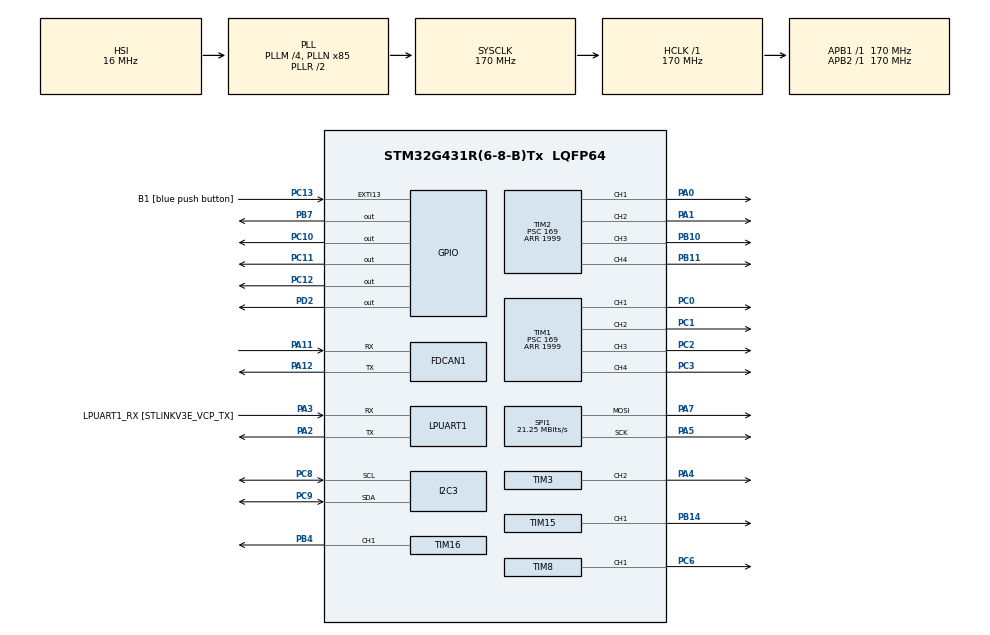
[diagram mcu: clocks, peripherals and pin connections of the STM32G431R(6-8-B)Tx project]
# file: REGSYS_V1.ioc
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FDCAN1.AutoRetransmission=ENABLE
FDCAN1.CalculateBaudRateNominal=499999
FDCAN1.CalculateTimeBitNominal=2000
FDCAN1.CalculateTimeQuantumNominal=117.64705882352942
FDCAN1.DataPrescaler=20
FDCAN1.DataTimeSeg1=14
FDCAN1.DataTimeSeg2=2
FDCAN1.NominalPrescaler=20
FDCAN1.NominalTimeSeg1=14
FDCAN1.StdFiltersNbr=1
I2C3.Timing=0x30A0A7FB
Mcu.Family=STM32G4
Mcu.Name=STM32G431R(6-8-B)Tx
Mcu.Package=LQFP64
NVIC.FDCAN1_IT0_IRQn=true\:0\:0\:false\:false\:true\:true\:true\:true
NVIC.PriorityGroup=NVIC_PRIORITYGROUP_4
PA0.Signal=S_TIM2_CH1
PA1.Signal=S_TIM2_CH2
PA11.Mode=FDCAN_Activate
PA11.Signal=FDCAN1_RX
PA12.Mode=FDCAN_Activate
PA12.Signal=FDCAN1_TX
PA13.GPIO_Label=T_SWDIO
PA13.Mode=Serial_Wire
PA13.Signal=SYS_JTMS-SWDIO
PA14.GPIO_Label=T_SWCLK
PA14.Mode=Serial_Wire
PA14.Signal=SYS_JTCK-SWCLK
PA2.Mode=Asynchronous
PA2.Signal=LPUART1_TX
PA3.GPIO_Label=LPUART1_RX [STLINKV3E_VCP_TX]
PA3.Mode=Asynchronous
PA3.Signal=LPUART1_RX
PA4.Signal=S_TIM3_CH2
PA5.Mode=TX_Only_Simplex_Unidirect_Master
PA5.Signal=SPI1_SCK
PA7.Mode=TX_Only_Simplex_Unidirect_Master
PA7.Signal=SPI1_MOSI
PB10.Signal=S_TIM2_CH3
PB11.Signal=S_TIM2_CH4
PB14.Signal=S_TIM15_CH1
PB4.Signal=S_TIM16_CH1
PB7.Signal=GPIO_Output
PC0.Signal=S_TIM1_CH1
PC1.Signal=S_TIM1_CH2
PC10.Signal=GPIO_Output
PC11.Signal=GPIO_Output
PC12.Signal=GPIO_Output
PC13.GPIO_Label=B1 [blue push button]
PC13.Signal=GPXTI13
PC14-OSC32_IN.Mode=LSE-External-Oscillator
PC14-OSC32_IN.Signal=RCC_OSC32_IN
PC15-OSC32_OUT.Mode=LSE-External-Oscillator
PC15-OSC32_OUT.Signal=RCC_OSC32_OUT
PC2.Signal=S_TIM1_CH3
PC3.Signal=S_TIM1_CH4
PC6.Signal=S_TIM8_CH1
PC8.Mode=I2C
PC8.Signal=I2C3_SCL
PC9.Mode=I2C
PC9.Signal=I2C3_SDA
PD2.Signal=GPIO_Output
PF0-OSC_IN.Mode=HSE-External-Oscillator
PF0-OSC_IN.Signal=RCC_OSC_IN
PF1-OSC_OUT.Mode=HSE-External-Oscillator
PF1-OSC_OUT.Signal=RCC_OSC_OUT
ProjectManager.HeapSize=0x200
ProjectManager.StackSize=0x400
ProjectManager.TargetToolchain=STM32CubeIDE
RCC.ADC12Freq_Value=170000000
RCC.AHBFreq_Value=170000000
RCC.APB1Freq_Value=170000000
RCC.APB1TimFreq_Value=170000000
RCC.APB2Freq_Value=170000000
RCC.APB2TimFreq_Value=170000000
RCC.CortexFreq_Value=170000000
RCC.EXTERNAL_CLOCK_VALUE=12288000
RCC.HCLKFreq_Value=170000000
RCC.HSE_VALUE=24000000
RCC.HSI48_VALUE=48000000
RCC.HSI_VALUE=16000000
RCC.PLLM=RCC_PLLM_DIV4
RCC.PLLN=85
RCC.RTCClockSelection=RCC_RTCCLKSOURCE_LSE
RCC.SYSCLKFreq_VALUE=170000000
RCC.SYSCLKSource=RCC_SYSCLKSOURCE_PLLCLK
RCC.USBFreq_Value=170000000
RCC.VCOOutputFreq_Value=340000000
SH.S_TIM15_CH1.0=TIM15_CH1,PWM Generation1 CH1
SH.S_TIM16_CH1.0=TIM16_CH1,PWM Generation1 CH1
SH.S_TIM1_CH1.0=TIM1_CH1,PWM Generation1 CH1
SH.S_TIM1_CH2.0=TIM1_CH2,PWM Generation2 CH2
SH.S_TIM1_CH3.0=TIM1_CH3,PWM Generation3 CH3
SH.S_TIM1_CH4.0=TIM1_CH4,PWM Generation4 CH4
SH.S_TIM2_CH1.0=TIM2_CH1,PWM Generation1 CH1
SH.S_TIM2_CH2.0=TIM2_CH2,PWM Generation2 CH2
SH.S_TIM2_CH3.0=TIM2_CH3,PWM Generation3 CH3
SH.S_TIM2_CH4.0=TIM2_CH4,PWM Generation4 CH4
SH.S_TIM3_CH2.0=TIM3_CH2,PWM Generation2 CH2
SH.S_TIM8_CH1.0=TIM8_CH1,PWM Generation1 CH1
SPI1.BaudRatePrescaler=SPI_BAUDRATEPRESCALER_8
SPI1.CalculateBaudRate=21.25 MBits/s
SPI1.DataSize=SPI_DATASIZE_8BIT
SPI1.Direction=SPI_DIRECTION_2LINES
SPI1.FirstBit=SPI_FIRSTBIT_LSB
SPI1.Mode=SPI_MODE_MASTER
SPI1.VirtualType=VM_MASTER
TIM1.AutoReloadPreload=TIM_AUTORELOAD_PRELOAD_ENABLE
TIM1.Channel-PWM\ Generation1\ CH1=TIM_CHANNEL_1
TIM1.Channel-PWM\ Generation2\ CH2=TIM_CHANNEL_2
TIM1.Channel-PWM\ Generation3\ CH3=TIM_CHANNEL_3
TIM1.Channel-PWM\ Generation4\ CH4=TIM_CHANNEL_4
TIM1.PeriodNoDither=1999
TIM1.Prescaler=169
TIM1.PulseNoDither_1=1499
TIM1.PulseNoDither_2=1499
TIM1.PulseNoDither_3=1499
TIM1.PulseNoDither_4=1499
TIM15.AutoReloadPreload=TIM_AUTORELOAD_PRELOAD_ENABLE
TIM15.Channel-PWM\ Generation1\ CH1=TIM_CHANNEL_1
TIM15.PeriodNoDither=4999
TIM15.Prescaler=169
TIM15.PulseNoDither_1=0
TIM16.AutoReloadPreload=TIM_AUTORELOAD_PRELOAD_ENABLE
TIM16.Channel=TIM_CHANNEL_1
TIM16.PeriodNoDither=4999
TIM16.Prescaler=169
TIM16.PulseNoDither_1=0
TIM2.AutoReloadPreload=TIM_AUTORELOAD_PRELOAD_ENABLE
TIM2.Channel-PWM\ Generation1\ CH1=TIM_CHANNEL_1
TIM2.Channel-PWM\ Generation2\ CH2=TIM_CHANNEL_2
TIM2.Channel-PWM\ Generation3\ CH3=TIM_CHANNEL_3
TIM2.Channel-PWM\ Generation4\ CH4=TIM_CHANNEL_4
TIM2.PeriodNoDither=1999
TIM2.Prescaler=169
TIM2.PulseNoDither_1=1499
TIM2.PulseNoDither_2=1499
TIM2.PulseNoDither_3=1499
TIM2.PulseNoDither_4=1499
TIM3.Channel-PWM\ Generation2\ CH2=TIM_CHANNEL_2
TIM3.PeriodNoDither=4999
TIM3.Prescaler=169
TIM3.PulseNoDither_2=0
TIM8.AutoReloadPreload=TIM_AUTORELOAD_PRELOAD_ENABLE
TIM8.Channel-PWM\ Generation1\ CH1=TIM_CHANNEL_1
TIM8.PeriodNoDither=4999
TIM8.Prescaler=169
TIM8.PulseNoDither_1=1499
VP_SYS_VS_DBSignals.Mode=DisableDeadBatterySignals
VP_TIM16_VS_ClockSourceINT.Mode=Enable_Timer
board=NUCLEO-G431RB

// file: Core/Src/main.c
/* USER CODE BEGIN Header */
/**
  ******************************************************************************
  * @file           : main.c
  * @brief          : Main program body
  ******************************************************************************
  * @attention
  *
  * Copyright (c) 2023 STMicroelectronics.
  * All rights reserved.
  *
  * This software is licensed under terms that can be found in the LICENSE file
  * in the root directory of this software component.
  * If no LICENSE file comes with this software, it is provided AS-IS.
  *
  ******************************************************************************
  */
/* USER CODE END Header */
#include "main.h"

/* USER CODE BEGIN Includes */
#include <stdio.h>
#include <string.h>
#include <stdlib.h>

#include <funksjoner_test.h>
#include <funksjoner_thruster.h>
#include <funksjoner_manpu.h>
#include <funksjoner_sensor.h>

#include <globvariabler_dek.h>
#include <typedef_structures.h>

#include "STTS75.h"

//funssjon (thruster_melding_struct &kjoremelding);

/* USER CODE END Includes */

FDCAN_HandleTypeDef hfdcan1;

I2C_HandleTypeDef hi2c3;

UART_HandleTypeDef hlpuart1;

SPI_HandleTypeDef hspi1;

TIM_HandleTypeDef htim1;
TIM_HandleTypeDef htim2;
TIM_HandleTypeDef htim3;
TIM_HandleTypeDef htim8;
TIM_HandleTypeDef htim15;
TIM_HandleTypeDef htim16;

/* USER CODE BEGIN PV */

/* ----------------Startoppsett for CAN-Bus-----------------*/

FDCAN_FilterTypeDef sFilterConfig;
FDCAN_TxHeaderTypeDef TxHeader;
FDCAN_RxHeaderTypeDef RxHeader;
// HVORFOR SKREVET 0X01 OSV..
// uint?
uint8_t TxData[8] = {0x00, 0x00, 0x00 ,0x00, 0x00, 0x00, 0x00, 0x00}; // CAN-Bus Transmit Buffer
uint8_t RxData[8] = {0x00, 0x00, 0x00, 0x00, 0x00, 0x00, 0x00, 0x00}; // CAN-Bus Receive Buffer

/* ----------------------------------------------------------*/

/* USER CODE END PV */

void SystemClock_Config(void);
static void MX_GPIO_Init(void);
static void MX_LPUART1_UART_Init(void);
static void MX_FDCAN1_Init(void);
static void MX_TIM2_Init(void);
static void MX_TIM1_Init(void);
static void MX_TIM16_Init(void);
static void MX_TIM15_Init(void);
static void MX_TIM8_Init(void);
static void MX_I2C3_Init(void);
static void MX_SPI1_Init(void);
static void MX_TIM3_Init(void);

/* USER CODE BEGIN 0 */

/* ----------------Funksjoner for CAN-Bus kommunikasjonsgruppe-----------*/

void oppstartCAN(FDCAN_HandleTypeDef *canPort) { // Konfigurerer CAN-bussen
// Configure filter for FDCAN1

			  sFilterConfig.IdType = FDCAN_STANDARD_ID;
			  sFilterConfig.FilterIndex = 0;
			  sFilterConfig.FilterType = FDCAN_FILTER_MASK;
			  sFilterConfig.FilterConfig = FDCAN_FILTER_TO_RXFIFO0;
			  sFilterConfig.FilterID1 = 0x20; // FilterID1 fra listen nedenfor settes her. Definerer filterID
			  sFilterConfig.FilterID2 = 0xE0; // FilterID2 fra listen nedenfor settes her. Definerer maskeID

			  /* ---------FilterID1 og FilterID2 for de ulike gruppene--------- */

			  // Reguleringskort: FilterID1 = 0x20, FilterID2 = 0xE0 --> Slipper gjennom ideer mellom 32-63 (0x20 - 0x3F)
			  // Sensorskort: FilterID1 = 0x40, FilterID2 = 0xE0 --> Slipper gjennom ideer mellom 64-95 (0x40 - 0x5F)
			  // Kraftkort: FilterID1 = 0x60, FilterID2 = 0xE0 --> Slipper gjennom ideer mellom 96-127 (0x60 - 0x7F)
			  // Kommunikasjonskort: FilterID1 = 0x80, FilterID2 = 0xE0 --> Slipper gjennom ideer mellom 128-159 (0x80 - 0x9F)
			  // Sett inn rett ID-er for din gruppe

			  // Configure TX Header for FDCAN1
			TxHeader.Identifier = 0x00;
			TxHeader.IdType = FDCAN_STANDARD_ID;
			TxHeader.TxFrameType = FDCAN_DATA_FRAME;
			TxHeader.DataLength = FDCAN_DLC_BYTES_8; // Antall byte som sendes
			TxHeader.ErrorStateIndicator = FDCAN_ESI_ACTIVE;
			TxHeader.BitRateSwitch = FDCAN_BRS_OFF;
			TxHeader.FDFormat = FDCAN_CLASSIC_CAN; // Bruker CAN og ikke FDCAN
			TxHeader.TxEventFifoControl = FDCAN_NO_TX_EVENTS;
			TxHeader.MessageMarker = 0;

			HAL_FDCAN_ConfigFilter(canPort, &sFilterConfig);
			HAL_FDCAN_Start(canPort);
			HAL_FDCAN_ActivateNotification(&hfdcan1, FDCAN_IT_RX_FIFO0_NEW_MESSAGE, 0);
}

void sendCAN(uint16_t id, FDCAN_HandleTypeDef *canPort) { // For sending av melding på CAN-bussen

	TxHeader.Identifier = id;
	HAL_FDCAN_AddMessageToTxFifoQ(canPort, &TxHeader, TxData);
}

/* ---------------- Andre funksjoner for CAN-Bus, kopier og skriv til RxData og TxData -----------------------------*/

// funksjon for å sende thrustpaadrag til topside
void TX_kopier_thrustpaadrag(void){
	memcpy(&TxData,   &sum_bidrag_int8.hhf, 1); // Kopierer 1 byte, sum_bidrag_int8.hhf til første byte i TxData
	memcpy(&TxData[1],&sum_bidrag_int8.hhb, 1); // Kopierer 1 byte, sum_bidrag_int8.hhb til andre byte i TxData
	memcpy(&TxData[2],&sum_bidrag_int8.hvb, 1); // ..
	memcpy(&TxData[3],&sum_bidrag_int8.hvf, 1);
	memcpy(&TxData[4],&sum_bidrag_int8.vhf, 1);
	memcpy(&TxData[5],&sum_bidrag_int8.vhb, 1);
	memcpy(&TxData[6],&sum_bidrag_int8.vvb, 1);
	memcpy(&TxData[7],&sum_bidrag_int8.vvf, 1);
}

// kan laste inn hele memcpy(&TxData,   &sum_bidrag_int8, 8);

/* ----------------------- DISPLAY -------------------------- */

void shiftUT(uint16_t segment_data){
	//sett_rotasjonsretning(operator_manpu.gripe,GPIOC,GPIO_PIN_12);
// LATCH PIN LOW
// HAL_GPIO_WritePin(LATCH_PORT, LATCH_PIN, GPIO_PIN_RESET);

	HAL_GPIO_WritePin(GPIOB, GPIO_PIN_7, GPIO_PIN_RESET);

// Write data with SPI Port
// size: how many bytes wish to send
// HAL_SPI_Transmit(&hspi1,segment_data,size,100);
	HAL_SPI_Transmit(&hspi1,(uint8_t*)&segment_data,2,100);

// once data is ready set latch pin to HIGH
// HAL_GPIO_WritePin(LATCH_PORT, LATCH_PIN, GPIO_PIN_SET);
	HAL_GPIO_WritePin(GPIOB, GPIO_PIN_7, GPIO_PIN_SET);

}

/* -------------------------------------------------------------- */
/* USER CODE END 0 */

int main(void)
{

  /* MCU Configuration--------------------------------------------------------*/

  /* Reset of all peripherals, Initializes the Flash interface and the Systick. */
  HAL_Init();

  /* Configure the system clock */
  SystemClock_Config();

  /* Initialize all configured peripherals */
  MX_GPIO_Init();
  MX_LPUART1_UART_Init();
  MX_FDCAN1_Init();
  MX_TIM2_Init();
  MX_TIM1_Init();
  MX_TIM16_Init();
  MX_TIM15_Init();
  MX_TIM8_Init();
  MX_I2C3_Init();
  MX_SPI1_Init();
  MX_TIM3_Init();
  /* USER CODE BEGIN 2 */

  /* Starter CAN-buseen */

  oppstartCAN(&hfdcan1);

  /* NB! starte timere */

  // TIMERE FOR THRUSTER
  HAL_TIM_PWM_Start(&htim1, TIM_CHANNEL_1);
  HAL_TIM_PWM_Start(&htim1, TIM_CHANNEL_2);
  HAL_TIM_PWM_Start(&htim1, TIM_CHANNEL_3);
  HAL_TIM_PWM_Start(&htim1, TIM_CHANNEL_4);

  HAL_TIM_PWM_Start(&htim2, TIM_CHANNEL_1);
  HAL_TIM_PWM_Start(&htim2, TIM_CHANNEL_2);
  HAL_TIM_PWM_Start(&htim2, TIM_CHANNEL_3);
  HAL_TIM_PWM_Start(&htim2, TIM_CHANNEL_4);

  // TIMEREI  FOR MANIUPLATOR

  //ENDRE_FREKVENS = 0XFF;

  //  PA4 GRIP
  HAL_TIM_PWM_Start(&htim3, TIM_CHANNEL_2);
  //HAL_GPIO_WritePin(GPIOB, GPIO_PIN_14, GPIO_PIN_RESET);

  // PC6 SNURR --> BØRSTELØSE
  HAL_TIM_PWM_Start(&htim8, TIM_CHANNEL_1);
  // må være delay slik at boot sekvensen rekker å kjøres
  HAL_Delay(5000);

  // PB14 SVING
  HAL_TIM_PWM_Start(&htim15, TIM_CHANNEL_1);
  //HAL_GPIO_WritePin(GPIOB, GPIO_PIN_4, GPIO_PIN_RESET);

  // PB4 SKYV
  HAL_TIM_PWM_Start(&htim16, TIM_CHANNEL_1);
  //HAL_GPIO_WritePin(GPIOA, GPIO_PIN_4, GPIO_PIN_RESET);

  HAL_GPIO_WritePin(GPIOD, GPIO_PIN_2, GPIO_PIN_SET);

  //init av temp sens
  STTS75 temp_sensor = {0};

  STTS75_Init(&temp_sensor, &hi2c3, STTS75_9BIT);

  //REG_AKTIVER = 0;
  // init av reguleringsvariabler
  hiv_regulering_init();
  stamp_regulering_init();
  rull_regulering_init();

  /* USER CODE END 2 */

  /* Infinite loop */
  /* USER CODE BEGIN WHILE */
  while (1)
  {

	//////// LESING OG SENDING TEMPERATUR SENSOR
	if(LES_SEND_TEMP){
		LES_SEND_TEMP = 0;
		// leser to temperatursensorer, reg og driver og lagrer i structen STTS75
		STTS75_Read_Temp(&temp_sensor);

	  	// kopierer temp_16bit_reg, og temp_16bit_driv til Txdata
		memcpy(&TxData,&temp_sensor.temp_16bit_reg, 2);
		memcpy(&TxData[2],&temp_sensor.temp_16bit_driv, 2);
		// sende settpunkt til topside
		int16_t settpunkt = (int16_t) (PID_hiv.Ref*1000.0);
		memcpy(&TxData[4],&settpunkt, 2);
		// sende om regulering er aktivert til topside

	  // sender over CAN med id 130
		sendCAN(130,&hfdcan1);
	}

	/////////// SENDING AV CAN MELDING

	 //// ID 129 thrustpaadrag
	 if (THRUST_TOPSIDE){
		THRUST_TOPSIDE = 0;

		TX_kopier_thrustpaadrag();
		// sender over CAN med id 129
		sendCAN(129, &hfdcan1);

	 }

	/////////// STYRING OG REGULERING

	static uint8_t condition_evaluated = 0;

	/// KODE FOR BARE STYRING UTEN REGULERING
	if (SUM_BIDRAG_STYRING){
		SUM_BIDRAG_STYRING = 0;
		//// all regulering deaktivert, må sette alle reguleringsbidrag til 0.
		 /// sum_bidrag vil da være lik operatorbidrag
		null_bidrag_alle_regvar();
		/////
		condition_evaluated = 1;
	}

/////// KODE FOR STYRING MED REGULERING

	else if (SUM_BIDRAG_INKL_REG){
		SUM_BIDRAG_INKL_REG = 0;

		beregn_reguleringbidrag();

		//////
		condition_evaluated = 1;

	}

	// FELLES FOR BEGGE TILFELLER
	/// operasjoner som blir utført i begge tilfellene
	if (condition_evaluated){
		condition_evaluated = 0;

		beregning_operatorbidrag();

		beregn_sum_bidrag();
		behandle_sum_bidrag();
	}

	// KODE FOR MANIPULATOR
	if (MOTTATT_MANIPULATOR){
		behandle_manipulator();
	}

    /* USER CODE END WHILE */

  }
}

void SystemClock_Config(void)
{
  RCC_OscInitTypeDef RCC_OscInitStruct = {0};
  RCC_ClkInitTypeDef RCC_ClkInitStruct = {0};

  /** Configure the main internal regulator output voltage
  */
  HAL_PWREx_ControlVoltageScaling(PWR_REGULATOR_VOLTAGE_SCALE1_BOOST);

  /** Initializes the RCC Oscillators according to the specified parameters
  * in the RCC_OscInitTypeDef structure.
  */
  RCC_OscInitStruct.OscillatorType = RCC_OSCILLATORTYPE_HSI;
  RCC_OscInitStruct.HSIState = RCC_HSI_ON;
  RCC_OscInitStruct.HSICalibrationValue = RCC_HSICALIBRATION_DEFAULT;
  RCC_OscInitStruct.PLL.PLLState = RCC_PLL_ON;
  RCC_OscInitStruct.PLL.PLLSource = RCC_PLLSOURCE_HSI;
  RCC_OscInitStruct.PLL.PLLM = RCC_PLLM_DIV4;
  RCC_OscInitStruct.PLL.PLLN = 85;
  RCC_OscInitStruct.PLL.PLLP = RCC_PLLP_DIV2;
  RCC_OscInitStruct.PLL.PLLQ = RCC_PLLQ_DIV2;
  RCC_OscInitStruct.PLL.PLLR = RCC_PLLR_DIV2;
  if (HAL_RCC_OscConfig(&RCC_OscInitStruct) != HAL_OK)
  {
    Error_Handler();
  }

  /** Initializes the CPU, AHB and APB buses clocks
  */
  RCC_ClkInitStruct.ClockType = RCC_CLOCKTYPE_HCLK|RCC_CLOCKTYPE_SYSCLK
                              |RCC_CLOCKTYPE_PCLK1|RCC_CLOCKTYPE_PCLK2;
  RCC_ClkInitStruct.SYSCLKSource = RCC_SYSCLKSOURCE_PLLCLK;
  RCC_ClkInitStruct.AHBCLKDivider = RCC_SYSCLK_DIV1;
  RCC_ClkInitStruct.APB1CLKDivider = RCC_HCLK_DIV1;
  RCC_ClkInitStruct.APB2CLKDivider = RCC_HCLK_DIV1;

  if (HAL_RCC_ClockConfig(&RCC_ClkInitStruct, FLASH_LATENCY_4) != HAL_OK)
  {
    Error_Handler();
  }
}

static void MX_FDCAN1_Init(void)
{

  hfdcan1.Instance = FDCAN1;
  hfdcan1.Init.ClockDivider = FDCAN_CLOCK_DIV1;
  hfdcan1.Init.FrameFormat = FDCAN_FRAME_CLASSIC;
  hfdcan1.Init.Mode = FDCAN_MODE_NORMAL;
  hfdcan1.Init.AutoRetransmission = ENABLE;
  hfdcan1.Init.TransmitPause = DISABLE;
  hfdcan1.Init.ProtocolException = DISABLE;
  hfdcan1.Init.NominalPrescaler = 20;
  hfdcan1.Init.NominalSyncJumpWidth = 1;
  hfdcan1.Init.NominalTimeSeg1 = 14;
  hfdcan1.Init.NominalTimeSeg2 = 2;
  hfdcan1.Init.DataPrescaler = 20;
  hfdcan1.Init.DataSyncJumpWidth = 1;
  hfdcan1.Init.DataTimeSeg1 = 14;
  hfdcan1.Init.DataTimeSeg2 = 2;
  hfdcan1.Init.StdFiltersNbr = 1;
  hfdcan1.Init.ExtFiltersNbr = 0;
  hfdcan1.Init.TxFifoQueueMode = FDCAN_TX_FIFO_OPERATION;
  if (HAL_FDCAN_Init(&hfdcan1) != HAL_OK)
  {
    Error_Handler();
  }

}

static void MX_I2C3_Init(void)
{

  hi2c3.Instance = I2C3;
  hi2c3.Init.Timing = 0x30A0A7FB;
  hi2c3.Init.OwnAddress1 = 0;
  hi2c3.Init.AddressingMode = I2C_ADDRESSINGMODE_7BIT;
  hi2c3.Init.DualAddressMode = I2C_DUALADDRESS_DISABLE;
  hi2c3.Init.OwnAddress2 = 0;
  hi2c3.Init.OwnAddress2Masks = I2C_OA2_NOMASK;
  hi2c3.Init.GeneralCallMode = I2C_GENERALCALL_DISABLE;
  hi2c3.Init.NoStretchMode = I2C_NOSTRETCH_DISABLE;
  if (HAL_I2C_Init(&hi2c3) != HAL_OK)
  {
    Error_Handler();
  }

  /** Configure Analogue filter
  */
  if (HAL_I2CEx_ConfigAnalogFilter(&hi2c3, I2C_ANALOGFILTER_ENABLE) != HAL_OK)
  {
    Error_Handler();
  }

  /** Configure Digital filter
  */
  if (HAL_I2CEx_ConfigDigitalFilter(&hi2c3, 0) != HAL_OK)
  {
    Error_Handler();
  }

}

static void MX_LPUART1_UART_Init(void)
{

  hlpuart1.Instance = LPUART1;
  hlpuart1.Init.BaudRate = 209700;
  hlpuart1.Init.WordLength = UART_WORDLENGTH_8B;
  hlpuart1.Init.StopBits = UART_STOPBITS_1;
  hlpuart1.Init.Parity = UART_PARITY_NONE;
  hlpuart1.Init.Mode = UART_MODE_TX_RX;
  hlpuart1.Init.HwFlowCtl = UART_HWCONTROL_NONE;
  hlpuart1.Init.OneBitSampling = UART_ONE_BIT_SAMPLE_DISABLE;
  hlpuart1.Init.ClockPrescaler = UART_PRESCALER_DIV1;
  hlpuart1.AdvancedInit.AdvFeatureInit = UART_ADVFEATURE_NO_INIT;
  if (HAL_UART_Init(&hlpuart1) != HAL_OK)
  {
    Error_Handler();
  }
  if (HAL_UARTEx_SetTxFifoThreshold(&hlpuart1, UART_TXFIFO_THRESHOLD_1_8) != HAL_OK)
  {
    Error_Handler();
  }
  if (HAL_UARTEx_SetRxFifoThreshold(&hlpuart1, UART_RXFIFO_THRESHOLD_1_8) != HAL_OK)
  {
    Error_Handler();
  }
  if (HAL_UARTEx_DisableFifoMode(&hlpuart1) != HAL_OK)
  {
    Error_Handler();
  }

}

static void MX_SPI1_Init(void)
{

  /* SPI1 parameter configuration*/
  hspi1.Instance = SPI1;
  hspi1.Init.Mode = SPI_MODE_MASTER;
  hspi1.Init.Direction = SPI_DIRECTION_2LINES;
  hspi1.Init.DataSize = SPI_DATASIZE_8BIT;
  hspi1.Init.CLKPolarity = SPI_POLARITY_LOW;
  hspi1.Init.CLKPhase = SPI_PHASE_1EDGE;
  hspi1.Init.NSS = SPI_NSS_SOFT;
  hspi1.Init.BaudRatePrescaler = SPI_BAUDRATEPRESCALER_8;
  hspi1.Init.FirstBit = SPI_FIRSTBIT_LSB;
  hspi1.Init.TIMode = SPI_TIMODE_DISABLE;
  hspi1.Init.CRCCalculation = SPI_CRCCALCULATION_DISABLE;
  hspi1.Init.CRCPolynomial = 7;
  hspi1.Init.CRCLength = SPI_CRC_LENGTH_DATASIZE;
  hspi1.Init.NSSPMode = SPI_NSS_PULSE_ENABLE;
  if (HAL_SPI_Init(&hspi1) != HAL_OK)
  {
    Error_Handler();
  }

}

static void MX_TIM1_Init(void)
{

  TIM_MasterConfigTypeDef sMasterConfig = {0};
  TIM_OC_InitTypeDef sConfigOC = {0};
  TIM_BreakDeadTimeConfigTypeDef sBreakDeadTimeConfig = {0};

  htim1.Instance = TIM1;
  htim1.Init.Prescaler = 169;
  htim1.Init.CounterMode = TIM_COUNTERMODE_UP;
  htim1.Init.Period = 1999;
  htim1.Init.ClockDivision = TIM_CLOCKDIVISION_DIV1;
  htim1.Init.RepetitionCounter = 0;
  htim1.Init.AutoReloadPreload = TIM_AUTORELOAD_PRELOAD_ENABLE;
  if (HAL_TIM_PWM_Init(&htim1) != HAL_OK)
  {
    Error_Handler();
  }
  sMasterConfig.MasterOutputTrigger = TIM_TRGO_RESET;
  sMasterConfig.MasterOutputTrigger2 = TIM_TRGO2_RESET;
  sMasterConfig.MasterSlaveMode = TIM_MASTERSLAVEMODE_DISABLE;
  if (HAL_TIMEx_MasterConfigSynchronization(&htim1, &sMasterConfig) != HAL_OK)
  {
    Error_Handler();
  }
  sConfigOC.OCMode = TIM_OCMODE_PWM1;
  sConfigOC.Pulse = 1499;
  sConfigOC.OCPolarity = TIM_OCPOLARITY_HIGH;
  sConfigOC.OCNPolarity = TIM_OCNPOLARITY_HIGH;
  sConfigOC.OCFastMode = TIM_OCFAST_DISABLE;
  sConfigOC.OCIdleState = TIM_OCIDLESTATE_RESET;
  sConfigOC.OCNIdleState = TIM_OCNIDLESTATE_RESET;
  if (HAL_TIM_PWM_ConfigChannel(&htim1, &sConfigOC, TIM_CHANNEL_1) != HAL_OK)
  {
    Error_Handler();
  }
  if (HAL_TIM_PWM_ConfigChannel(&htim1, &sConfigOC, TIM_CHANNEL_2) != HAL_OK)
  {
    Error_Handler();
  }
  if (HAL_TIM_PWM_ConfigChannel(&htim1, &sConfigOC, TIM_CHANNEL_3) != HAL_OK)
  {
    Error_Handler();
  }
  if (HAL_TIM_PWM_ConfigChannel(&htim1, &sConfigOC, TIM_CHANNEL_4) != HAL_OK)
  {
    Error_Handler();
  }
  sBreakDeadTimeConfig.OffStateRunMode = TIM_OSSR_DISABLE;
  sBreakDeadTimeConfig.OffStateIDLEMode = TIM_OSSI_DISABLE;
  sBreakDeadTimeConfig.LockLevel = TIM_LOCKLEVEL_OFF;
  sBreakDeadTimeConfig.DeadTime = 0;
  sBreakDeadTimeConfig.BreakState = TIM_BREAK_DISABLE;
  sBreakDeadTimeConfig.BreakPolarity = TIM_BREAKPOLARITY_HIGH;
  sBreakDeadTimeConfig.BreakFilter = 0;
  sBreakDeadTimeConfig.BreakAFMode = TIM_BREAK_AFMODE_INPUT;
  sBreakDeadTimeConfig.Break2State = TIM_BREAK2_DISABLE;
  sBreakDeadTimeConfig.Break2Polarity = TIM_BREAK2POLARITY_HIGH;
  sBreakDeadTimeConfig.Break2Filter = 0;
  sBreakDeadTimeConfig.Break2AFMode = TIM_BREAK_AFMODE_INPUT;
  sBreakDeadTimeConfig.AutomaticOutput = TIM_AUTOMATICOUTPUT_DISABLE;
  if (HAL_TIMEx_ConfigBreakDeadTime(&htim1, &sBreakDeadTimeConfig) != HAL_OK)
  {
    Error_Handler();
  }
  HAL_TIM_MspPostInit(&htim1);

}

static void MX_TIM2_Init(void)
{

  TIM_MasterConfigTypeDef sMasterConfig = {0};
  TIM_OC_InitTypeDef sConfigOC = {0};

  htim2.Instance = TIM2;
  htim2.Init.Prescaler = 169;
  htim2.Init.CounterMode = TIM_COUNTERMODE_UP;
  htim2.Init.Period = 1999;
  htim2.Init.ClockDivision = TIM_CLOCKDIVISION_DIV1;
  htim2.Init.AutoReloadPreload = TIM_AUTORELOAD_PRELOAD_ENABLE;
  if (HAL_TIM_PWM_Init(&htim2) != HAL_OK)
  {
    Error_Handler();
  }
  sMasterConfig.MasterOutputTrigger = TIM_TRGO_RESET;
  sMasterConfig.MasterSlaveMode = TIM_MASTERSLAVEMODE_DISABLE;
  if (HAL_TIMEx_MasterConfigSynchronization(&htim2, &sMasterConfig) != HAL_OK)
  {
    Error_Handler();
  }
  sConfigOC.OCMode = TIM_OCMODE_PWM1;
  sConfigOC.Pulse = 1499;
  sConfigOC.OCPolarity = TIM_OCPOLARITY_HIGH;
  sConfigOC.OCFastMode = TIM_OCFAST_DISABLE;
  if (HAL_TIM_PWM_ConfigChannel(&htim2, &sConfigOC, TIM_CHANNEL_1) != HAL_OK)
  {
    Error_Handler();
  }
  if (HAL_TIM_PWM_ConfigChannel(&htim2, &sConfigOC, TIM_CHANNEL_2) != HAL_OK)
  {
    Error_Handler();
  }
  if (HAL_TIM_PWM_ConfigChannel(&htim2, &sConfigOC, TIM_CHANNEL_3) != HAL_OK)
  {
    Error_Handler();
  }
  if (HAL_TIM_PWM_ConfigChannel(&htim2, &sConfigOC, TIM_CHANNEL_4) != HAL_OK)
  {
    Error_Handler();
  }
  HAL_TIM_MspPostInit(&htim2);

}

static void MX_TIM3_Init(void)
{

  TIM_MasterConfigTypeDef sMasterConfig = {0};
  TIM_OC_InitTypeDef sConfigOC = {0};

  htim3.Instance = TIM3;
  htim3.Init.Prescaler = 169;
  htim3.Init.CounterMode = TIM_COUNTERMODE_UP;
  htim3.Init.Period = 4999;
  htim3.Init.ClockDivision = TIM_CLOCKDIVISION_DIV1;
  htim3.Init.AutoReloadPreload = TIM_AUTORELOAD_PRELOAD_DISABLE;
  if (HAL_TIM_PWM_Init(&htim3) != HAL_OK)
  {
    Error_Handler();
  }
  sMasterConfig.MasterOutputTrigger = TIM_TRGO_RESET;
  sMasterConfig.MasterSlaveMode = TIM_MASTERSLAVEMODE_DISABLE;
  if (HAL_TIMEx_MasterConfigSynchronization(&htim3, &sMasterConfig) != HAL_OK)
  {
    Error_Handler();
  }
  sConfigOC.OCMode = TIM_OCMODE_PWM1;
  sConfigOC.Pulse = 0;
  sConfigOC.OCPolarity = TIM_OCPOLARITY_HIGH;
  sConfigOC.OCFastMode = TIM_OCFAST_DISABLE;
  if (HAL_TIM_PWM_ConfigChannel(&htim3, &sConfigOC, TIM_CHANNEL_2) != HAL_OK)
  {
    Error_Handler();
  }
  HAL_TIM_MspPostInit(&htim3);

}

static void MX_TIM8_Init(void)
{

  TIM_MasterConfigTypeDef sMasterConfig = {0};
  TIM_OC_InitTypeDef sConfigOC = {0};
  TIM_BreakDeadTimeConfigTypeDef sBreakDeadTimeConfig = {0};

  htim8.Instance = TIM8;
  htim8.Init.Prescaler = 169;
  htim8.Init.CounterMode = TIM_COUNTERMODE_UP;
  htim8.Init.Period = 4999;
  htim8.Init.ClockDivision = TIM_CLOCKDIVISION_DIV1;
  htim8.Init.RepetitionCounter = 0;
  htim8.Init.AutoReloadPreload = TIM_AUTORELOAD_PRELOAD_ENABLE;
  if (HAL_TIM_PWM_Init(&htim8) != HAL_OK)
  {
    Error_Handler();
  }
  sMasterConfig.MasterOutputTrigger = TIM_TRGO_RESET;
  sMasterConfig.MasterOutputTrigger2 = TIM_TRGO2_RESET;
  sMasterConfig.MasterSlaveMode = TIM_MASTERSLAVEMODE_DISABLE;
  if (HAL_TIMEx_MasterConfigSynchronization(&htim8, &sMasterConfig) != HAL_OK)
  {
    Error_Handler();
  }
  sConfigOC.OCMode = TIM_OCMODE_PWM1;
  sConfigOC.Pulse = 1499;
  sConfigOC.OCPolarity = TIM_OCPOLARITY_HIGH;
  sConfigOC.OCNPolarity = TIM_OCNPOLARITY_HIGH;
  sConfigOC.OCFastMode = TIM_OCFAST_DISABLE;
  sConfigOC.OCIdleState = TIM_OCIDLESTATE_RESET;
  sConfigOC.OCNIdleState = TIM_OCNIDLESTATE_RESET;
  if (HAL_TIM_PWM_ConfigChannel(&htim8, &sConfigOC, TIM_CHANNEL_1) != HAL_OK)
  {
    Error_Handler();
  }
  sBreakDeadTimeConfig.OffStateRunMode = TIM_OSSR_DISABLE;
  sBreakDeadTimeConfig.OffStateIDLEMode = TIM_OSSI_DISABLE;
  sBreakDeadTimeConfig.LockLevel = TIM_LOCKLEVEL_OFF;
  sBreakDeadTimeConfig.DeadTime = 0;
  sBreakDeadTimeConfig.BreakState = TIM_BREAK_DISABLE;
  sBreakDeadTimeConfig.BreakPolarity = TIM_BREAKPOLARITY_HIGH;
  sBreakDeadTimeConfig.BreakFilter = 0;
  sBreakDeadTimeConfig.BreakAFMode = TIM_BREAK_AFMODE_INPUT;
  sBreakDeadTimeConfig.Break2State = TIM_BREAK2_DISABLE;
  sBreakDeadTimeConfig.Break2Polarity = TIM_BREAK2POLARITY_HIGH;
  sBreakDeadTimeConfig.Break2Filter = 0;
  sBreakDeadTimeConfig.Break2AFMode = TIM_BREAK_AFMODE_INPUT;
  sBreakDeadTimeConfig.AutomaticOutput = TIM_AUTOMATICOUTPUT_DISABLE;
  if (HAL_TIMEx_ConfigBreakDeadTime(&htim8, &sBreakDeadTimeConfig) != HAL_OK)
  {
    Error_Handler();
  }
  HAL_TIM_MspPostInit(&htim8);

}

static void MX_TIM15_Init(void)
{

  TIM_MasterConfigTypeDef sMasterConfig = {0};
  TIM_OC_InitTypeDef sConfigOC = {0};
  TIM_BreakDeadTimeConfigTypeDef sBreakDeadTimeConfig = {0};

  htim15.Instance = TIM15;
  htim15.Init.Prescaler = 169;
  htim15.Init.CounterMode = TIM_COUNTERMODE_UP;
  htim15.Init.Period = 4999;
  htim15.Init.ClockDivision = TIM_CLOCKDIVISION_DIV1;
  htim15.Init.RepetitionCounter = 0;
  htim15.Init.AutoReloadPreload = TIM_AUTORELOAD_PRELOAD_ENABLE;
  if (HAL_TIM_PWM_Init(&htim15) != HAL_OK)
  {
    Error_Handler();
  }
  sMasterConfig.MasterOutputTrigger = TIM_TRGO_RESET;
  sMasterConfig.MasterSlaveMode = TIM_MASTERSLAVEMODE_DISABLE;
  if (HAL_TIMEx_MasterConfigSynchronization(&htim15, &sMasterConfig) != HAL_OK)
  {
    Error_Handler();
  }
  sConfigOC.OCMode = TIM_OCMODE_PWM1;
  sConfigOC.Pulse = 0;
  sConfigOC.OCPolarity = TIM_OCPOLARITY_HIGH;
  sConfigOC.OCNPolarity = TIM_OCNPOLARITY_HIGH;
  sConfigOC.OCFastMode = TIM_OCFAST_DISABLE;
  sConfigOC.OCIdleState = TIM_OCIDLESTATE_RESET;
  sConfigOC.OCNIdleState = TIM_OCNIDLESTATE_RESET;
  if (HAL_TIM_PWM_ConfigChannel(&htim15, &sConfigOC, TIM_CHANNEL_1) != HAL_OK)
  {
    Error_Handler();
  }
  sBreakDeadTimeConfig.OffStateRunMode = TIM_OSSR_DISABLE;
  sBreakDeadTimeConfig.OffStateIDLEMode = TIM_OSSI_DISABLE;
  sBreakDeadTimeConfig.LockLevel = TIM_LOCKLEVEL_OFF;
  sBreakDeadTimeConfig.DeadTime = 0;
  sBreakDeadTimeConfig.BreakState = TIM_BREAK_DISABLE;
  sBreakDeadTimeConfig.BreakPolarity = TIM_BREAKPOLARITY_HIGH;
  sBreakDeadTimeConfig.BreakFilter = 0;
  sBreakDeadTimeConfig.AutomaticOutput = TIM_AUTOMATICOUTPUT_DISABLE;
  if (HAL_TIMEx_ConfigBreakDeadTime(&htim15, &sBreakDeadTimeConfig) != HAL_OK)
  {
    Error_Handler();
  }
  HAL_TIM_MspPostInit(&htim15);

}

static void MX_TIM16_Init(void)
{

  TIM_OC_InitTypeDef sConfigOC = {0};
  TIM_BreakDeadTimeConfigTypeDef sBreakDeadTimeConfig = {0};

  htim16.Instance = TIM16;
  htim16.Init.Prescaler = 169;
  htim16.Init.CounterMode = TIM_COUNTERMODE_UP;
  htim16.Init.Period = 4999;
  htim16.Init.ClockDivision = TIM_CLOCKDIVISION_DIV1;
  htim16.Init.RepetitionCounter = 0;
  htim16.Init.AutoReloadPreload = TIM_AUTORELOAD_PRELOAD_ENABLE;
  if (HAL_TIM_Base_Init(&htim16) != HAL_OK)
  {
    Error_Handler();
  }
  if (HAL_TIM_PWM_Init(&htim16) != HAL_OK)
  {
    Error_Handler();
  }
  sConfigOC.OCMode = TIM_OCMODE_PWM1;
  sConfigOC.Pulse = 0;
  sConfigOC.OCPolarity = TIM_OCPOLARITY_HIGH;
  sConfigOC.OCNPolarity = TIM_OCNPOLARITY_HIGH;
  sConfigOC.OCFastMode = TIM_OCFAST_DISABLE;
  sConfigOC.OCIdleState = TIM_OCIDLESTATE_RESET;
  sConfigOC.OCNIdleState = TIM_OCNIDLESTATE_RESET;
  if (HAL_TIM_PWM_ConfigChannel(&htim16, &sConfigOC, TIM_CHANNEL_1) != HAL_OK)
  {
    Error_Handler();
  }
  sBreakDeadTimeConfig.OffStateRunMode = TIM_OSSR_DISABLE;
  sBreakDeadTimeConfig.OffStateIDLEMode = TIM_OSSI_DISABLE;
  sBreakDeadTimeConfig.LockLevel = TIM_LOCKLEVEL_OFF;
  sBreakDeadTimeConfig.DeadTime = 0;
  sBreakDeadTimeConfig.BreakState = TIM_BREAK_DISABLE;
  sBreakDeadTimeConfig.BreakPolarity = TIM_BREAKPOLARITY_HIGH;
  sBreakDeadTimeConfig.BreakFilter = 0;
  sBreakDeadTimeConfig.AutomaticOutput = TIM_AUTOMATICOUTPUT_DISABLE;
  if (HAL_TIMEx_ConfigBreakDeadTime(&htim16, &sBreakDeadTimeConfig) != HAL_OK)
  {
    Error_Handler();
  }
  HAL_TIM_MspPostInit(&htim16);

}

static void MX_GPIO_Init(void)
{
  GPIO_InitTypeDef GPIO_InitStruct = {0};

  /* GPIO Ports Clock Enable */
  __HAL_RCC_GPIOC_CLK_ENABLE();
  __HAL_RCC_GPIOF_CLK_ENABLE();
  __HAL_RCC_GPIOA_CLK_ENABLE();
  __HAL_RCC_GPIOB_CLK_ENABLE();
  __HAL_RCC_GPIOD_CLK_ENABLE();

  /*Configure GPIO pin Output Level */
  HAL_GPIO_WritePin(GPIOC, GPIO_PIN_10|GPIO_PIN_11|GPIO_PIN_12, GPIO_PIN_RESET);

  /*Configure GPIO pin Output Level */
  HAL_GPIO_WritePin(GPIOD, GPIO_PIN_2, GPIO_PIN_RESET);

  /*Configure GPIO pin Output Level */
  HAL_GPIO_WritePin(GPIOB, GPIO_PIN_7, GPIO_PIN_RESET);

  /*Configure GPIO pin : B1_Pin */
  GPIO_InitStruct.Pin = B1_Pin;
  GPIO_InitStruct.Mode = GPIO_MODE_IT_RISING;
  GPIO_InitStruct.Pull = GPIO_NOPULL;
  HAL_GPIO_Init(B1_GPIO_Port, &GPIO_InitStruct);

  /*Configure GPIO pins : PC10 PC11 PC12 */
  GPIO_InitStruct.Pin = GPIO_PIN_10|GPIO_PIN_11|GPIO_PIN_12;
  GPIO_InitStruct.Mode = GPIO_MODE_OUTPUT_PP;
  GPIO_InitStruct.Pull = GPIO_NOPULL;
  GPIO_InitStruct.Speed = GPIO_SPEED_FREQ_LOW;
  HAL_GPIO_Init(GPIOC, &GPIO_InitStruct);

  /*Configure GPIO pin : PD2 */
  GPIO_InitStruct.Pin = GPIO_PIN_2;
  GPIO_InitStruct.Mode = GPIO_MODE_OUTPUT_PP;
  GPIO_InitStruct.Pull = GPIO_NOPULL;
  GPIO_InitStruct.Speed = GPIO_SPEED_FREQ_LOW;
  HAL_GPIO_Init(GPIOD, &GPIO_InitStruct);

  /*Configure GPIO pin : PB7 */
  GPIO_InitStruct.Pin = GPIO_PIN_7;
  GPIO_InitStruct.Mode = GPIO_MODE_OUTPUT_PP;
  GPIO_InitStruct.Pull = GPIO_NOPULL;
  GPIO_InitStruct.Speed = GPIO_SPEED_FREQ_LOW;
  HAL_GPIO_Init(GPIOB, &GPIO_InitStruct);

}

/* USER CODE BEGIN 4 */

// FDCAN1 Callback
void HAL_FDCAN_RxFifo0Callback(FDCAN_HandleTypeDef *hfdcan, uint32_t RxFifo0ITs)
{

  if((RxFifo0ITs & FDCAN_IT_RX_FIFO0_NEW_MESSAGE) != RESET)
  {

    /* Retreive Rx messages from RX FIFO0 */
    if (HAL_FDCAN_GetRxMessage(hfdcan, FDCAN_RX_FIFO0, &RxHeader, RxData) != HAL_OK)
    {
    /* Reception Error */
    Error_Handler();
    }

    if (HAL_FDCAN_ActivateNotification(hfdcan, FDCAN_IT_RX_FIFO0_NEW_MESSAGE, 0) != HAL_OK)
    {
      /* Notification Error */
      Error_Handler();
    }

    switch (RxHeader.Identifier) { // Leser ID på motatt melding. Casene må lages ut fra ID-er enn mottar. (Sjekk "Interface-Overview" under "Overordnet prosjekt")
    	// Reguleringskort: FilterID1 = 0x20, FilterID2 = 0xE0 --> Slipper gjennom ideer mellom 32-63 (0x20 - 0x3F)

		case 32: // BYTE FOR AKTIVERING ELLER DEAKTIVERING AV REGULERING

			//REG_AKTIVER || RxData[0];
			// kan ikke kopiere direkte inn, må ha en operasjon på

			memcpy(&REG_AKTIVER,  &RxData,1);
			break;

		case 33:  // STYREPAKKE THRUSTER
			MOTTATT_THRUST=1;

			// memcpy(. , . , .) Last place is the number of bytes to be copied.
			// Tx[B0,B1,B2,B3,B4,B5,B6,B7]
			memcpy(&operator_referanse_int.jag, &RxData, 1);  // B0
			memcpy(&operator_referanse_int.svai, &RxData[1], 1); // B1
			memcpy(&operator_referanse_int.hiv, &RxData[2], 1); // B2
			memcpy(&operator_referanse_int.gir, &RxData[3], 1); // B3

			break;

		case 34:  // STYREPAKKE MANIPULATOR
			MOTTATT_MANIPULATOR = 1;
//
//			// memcpy(. , . , .) Last place is the number of bytes to be copied.
//			// Tx[B0,B1,B2,B3,B4,B5,B6,B7]
			memcpy(&operator_manpu_int.skyv,  &RxData,    1);  // B0
			memcpy(&operator_manpu_int.snurr, &RxData[1], 1); // B1
			memcpy(&operator_manpu_int.sving, &RxData[2], 1); // B2
			memcpy(&operator_manpu_int.gripe, &RxData[3], 1); // B3

			 // sende sensitivitet som sensitivitet*10?
			// manu_sensitivitet.gripe = (float) manu_sensitivitet_int.gripe.sensitivitet / 10;
			break;

		case 35:  // SENSOR
			MOTTATT_SENSOR = 1; // Sett flagg for mottagelse.

			memcpy(&sensordata_int.rull,  &RxData,    2);  // B0-B1
			memcpy(&sensordata_int.stamp, &RxData[2], 2); // B2-B3
			memcpy(&sensordata_int.dybde, &RxData[4], 2); // B4-B5
			break;

		case 36: // FORM FOR STRØMFORBRUK KRAFT, SENDER IDX_KRAFT
			memcpy(&kraftdata_int.stromforbruk_hoyre, &RxData, 2);  // B0-B1
			break;
		case 37:
			memcpy(&kraftdata_int.stromforbruk_venstre, &RxData, 2);  // B0-B1
			break;

		case 42: /// OPPDATER PARAMETRE
			memcpy(&ny_param, &RxData, sizeof(can_param));
			oppdater_parameter(ny_param.param_id, ny_param.parameter);
			break;

		case 63: // IKKE FJERN DENNE // Endres til 63 for Regulering, til 95 for Sensor og til 127 for Kraft.
			// mister denne disable allt (3s)
			MARCO = 1;
			memcpy(&TxData, (uint8_t *) &"polo!\n", 6);
			sendCAN(155, &hfdcan1); // Endres til 155 for Regulering, til 156 for Sensor, til 157/158/159 for Kraft1/2/3.
			break;

    }
  }

}

/* USER CODE END 4 */

void Error_Handler(void)
{
  __disable_irq();
  while (1)
  {
  }
}
